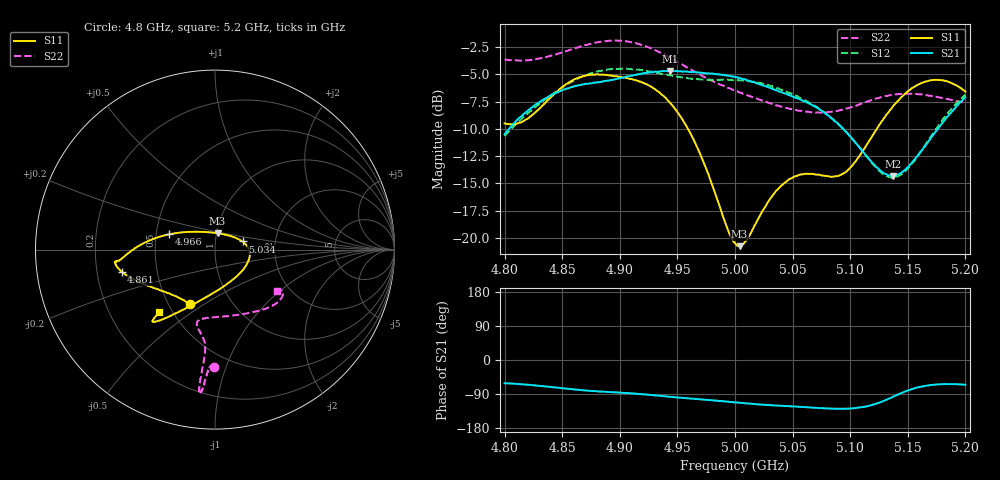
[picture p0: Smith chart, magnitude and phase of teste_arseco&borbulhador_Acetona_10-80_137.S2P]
! Network Analyzer HP8722D
! Hewlett-Packard
! Data name: Linha & Wilkinson
! Saver's name: Rodrigo Anjos
! Comments: Teste da utilização de aquisição
! continua pelo VNA HP8722D
! Time and date: 17/4/2025 15:30
!  Frequency  S11  S21  S12  S22
# HZ  S  MA R 50
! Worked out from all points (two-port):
!   401 points, 4.8 GHz to 5.2 GHz, reference 50 ohm
!   highest |S21| = -4.69 dB at 4.944 GHz (marker M1); lowest = -14.3 dB at 5.137 GHz (marker M2)
!   |S21| within 3 dB of the highest: 4.828 GHz to 5.064 GHz (236.5 MHz wide, 4.78 % of centre); 5.194393 GHz to end of sweep
!   lowest |S11| = -20.7 dB at 5.004 GHz (marker M3), VSWR 1.20, Z = 50.6 + j9.25 ohm
!   |S11| at or under -10 dB: 4.959 GHz to 5.123 GHz (164 MHz wide, 3.25 % of centre)
!   |S22| runs from -8.5 to -1.9 dB; largest |S21 - S12| = 0.88
!   S11 on the Smith chart (normalised r, x): 4.8 GHz: 0.64, -0.44; 4.861 GHz: 0.31, -0.11; 4.966 GHz: 0.59, +0.11; 5.034 GHz: 1.36, +0.13; 5.2 GHz: 0.42, -0.38
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4.8e9  0.3348 -114.6  0.299 -61.3  0.2933 -175.5  0.6568 -90.6
4.819e9  0.3501 -134.7  0.3789 -65.1  0.3674 -174.6  0.6515 -92.2
4.861e9  0.5345 -166.7  0.4956 -78.0  0.5301 -177.7  0.7385 -94.5
4.867e9  0.5486 -169.0  0.5047 -79.8  0.5474 -178.9  0.7574 -94.7
4.902e9  0.5442 -173.4  0.5426 -86.3  0.5967 174.1  0.8 -96.1
4.934e9  0.466 -179.2  0.5783 -94.4  0.5688 171.1  0.7094 -96.4
4.944e9  0.4144 176.3  0.5828 -97.1  0.5544 171.3  0.6689 -96.1
4.966e9  0.2685 161.5  0.5753 -102.8  0.5343 173.3  0.5739 -95.5
4.994e9  0.1086 115.8  0.5533 -110.1  0.5307 175.3  0.487 -98.3
5e9  0.09465 95.5  0.547 -111.9  0.5301 175.6  0.4719 -99.6
5.004e9  0.09177 80.8  0.5406 -112.9  0.5268 175.3  0.4643 -100.4
5.012e9  0.1017 54.3  0.5255 -114.9  0.5215 175.2  0.4475 -102.3
5.034e9  0.1599 16.4  0.4786 -120.0  0.4922 174.0  0.4091 -103.6
5.049e9  0.1876 1.6  0.4472 -122.4  0.4584 173.7  0.3899 -99.6
5.067e9  0.1968 -17.8  0.4063 -125.7  0.4096 173.0  0.3764 -90.0
5.097e9  0.2021 -70.3  0.3035 -128.5  0.3043 174.7  0.3919 -66.5
5.121e9  0.3033 -107.8  0.2159 -117.0  0.2138 -171.9  0.4325 -49.7
5.134e9  0.3816 -118.4  0.1929 -101.5  0.19 -154.4  0.4501 -43.1
5.137e9  0.3993 -120.1  0.1924 -97.4  0.1893 -149.6  0.4531 -41.8
5.149e9  0.4646 -125.3  0.2088 -81.5  0.2057 -131.5  0.4584 -37.3
5.17e9  0.5276 -130.2  0.2863 -66.0  0.2916 -112.2  0.448 -32.4
5.2e9  0.4678 -131.6  0.4412 -65.4  0.4533 -107.4  0.416 -34.0
